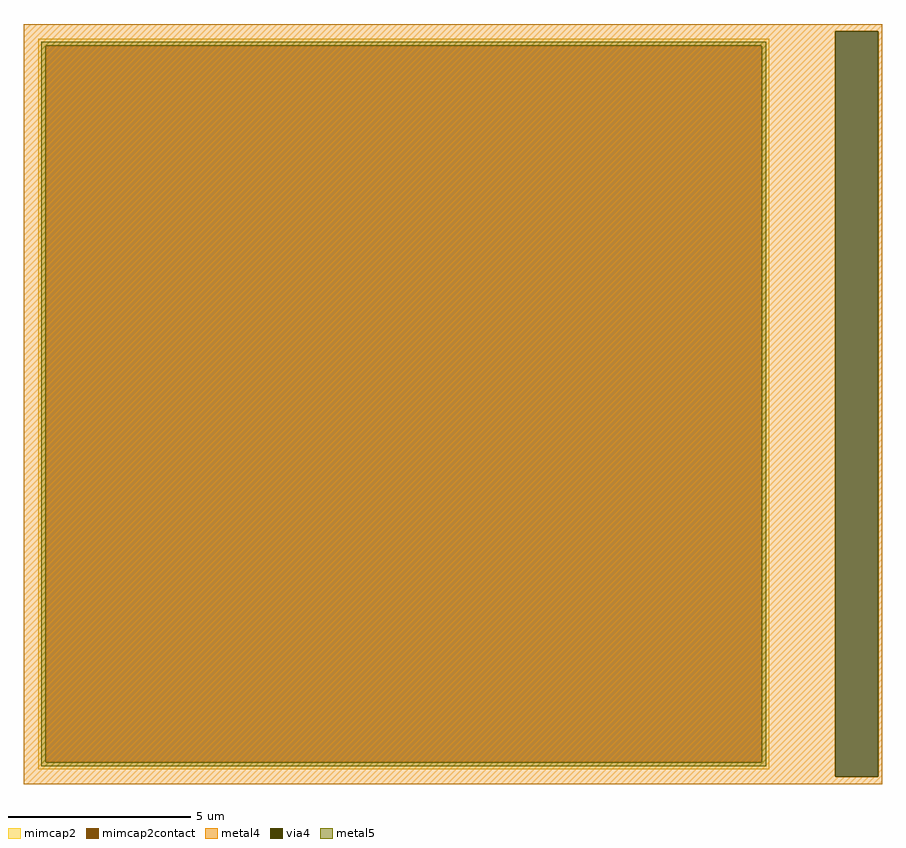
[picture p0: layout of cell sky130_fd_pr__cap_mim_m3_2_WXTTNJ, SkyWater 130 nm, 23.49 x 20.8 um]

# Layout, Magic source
magic
tech sky130A
magscale 1 2
<< metal4 >>
rect -2349 2039 2349 2080
rect -2349 -2039 2093 2039
rect 2329 -2039 2349 2039
rect -2349 -2080 2349 -2039
<< via4 >>
rect 2093 -2039 2329 2039
<< mimcap2 >>
rect -2269 1960 1731 2000
rect -2269 -1960 -2229 1960
rect 1691 -1960 1731 1960
rect -2269 -2000 1731 -1960
<< mimcap2contact >>
rect -2229 -1960 1691 1960
<< metal5 >>
rect -2253 1960 1715 1984
rect -2253 -1960 -2229 1960
rect 1691 -1960 1715 1960
rect -2253 -1984 1715 -1960
<< properties >>
string FIXED_BBOX -2349 -2080 1811 2080
string gencell sky130_fd_pr__cap_mim_m3_2
string library sky130
string parameters w 20 l 20 val 815.2 carea 2.00 cperi 0.19 nx 1 ny 1 dummy 0 square 0 lmin 2.00 wmin 2.00 lmax 30.0 wmax 30.0 dc 0 bconnect 1 tconnect 1 ccov 100
<< end >>
